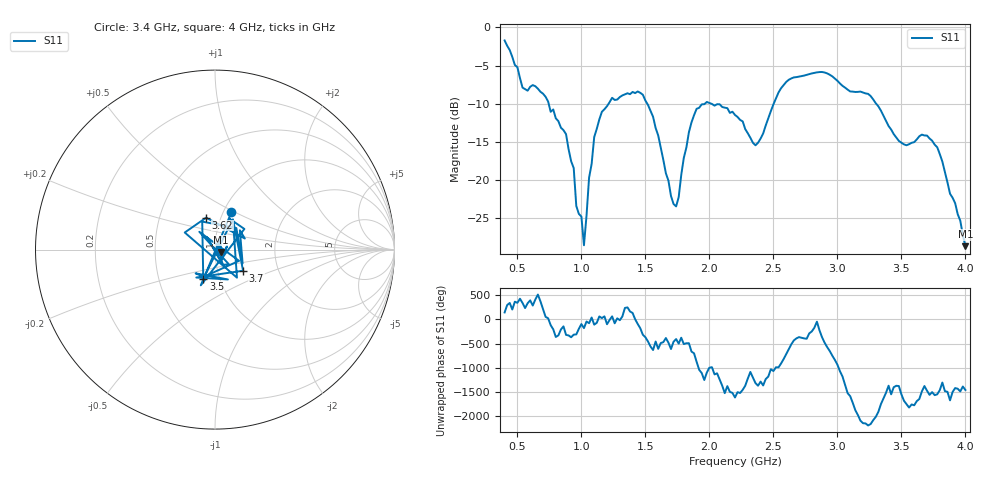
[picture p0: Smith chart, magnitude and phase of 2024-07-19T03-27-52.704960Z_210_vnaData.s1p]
!Created with skrf (http://scikit-rf.org).
# Hz S RI R 50.0
!freq ReS11 ImS11
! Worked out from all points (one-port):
!   181 points, 400 MHz to 4 GHz, reference 50 ohm
!   lowest |S11| = -28.7 dB at 4 GHz (marker M1), VSWR 1.08, Z = 53.5 - j1.46 ohm
!   |S11| at or under -10 dB: 744.3 MHz to 1.212 GHz (468 MHz wide, 47.8 % of centre); 2.016 GHz to 2.502 GHz (486.3 MHz wide, 21.5 % of centre); 3.303 GHz to end of sweep (the widest 3 of 4)
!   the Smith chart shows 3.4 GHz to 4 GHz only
!   S11 on the Smith chart (normalised r, x): 3.4 GHz: 1.09, +0.48; 3.5 GHz: 0.83, -0.28; 3.62 GHz: 0.85, +0.31; 3.7 GHz: 1.33, -0.32; 4 GHz: 1.07, -0.03
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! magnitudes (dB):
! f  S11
! 400 MHz  -1.7
! 540 MHz  -7.9
! 700 MHz  -8.7
! 860 MHz  -13.5
! 940 MHz  -18.4
! 960 MHz  -23.4
! 1 GHz  -24.8
! 1.02 GHz  -28.5
! 1.1 GHz  -14.4
! 1.3 GHz  -9.1
! 1.48 GHz  -8.8
! 1.56 GHz  -11.7
! 1.72 GHz  -23.1
! 1.76 GHz  -22.2
! 1.84 GHz  -13.7
! 1.9 GHz  -10.7
! 2.2 GHz  -11.5
! 2.36 GHz  -15.4
! 2.66 GHz  -6.6
! 3.1 GHz  -8.4
! 3.26 GHz  -9.0
! 3.4 GHz  -12.9
! 3.5 GHz  -15.1
! 3.56 GHz  -15.3
! 3.62 GHz  -14.7
! 3.7 GHz  -14.2
! 3.8 GHz  -16.6
! 4 GHz  -28.7
